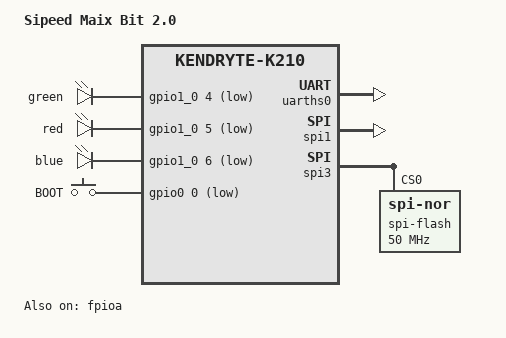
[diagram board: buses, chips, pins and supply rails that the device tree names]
// SPDX-License-Identifier: GPL-2.0+
/*
 * Copyright (C) 2019-20 Sean Anderson <seanga2@gmail.com>
 */

/dts-v1/;

#include "k210.dtsi"

#include <dt-bindings/gpio/gpio.h>
#include <dt-bindings/input/input.h>

/ {
	model = "Sipeed Maix Bit 2.0";
	compatible = "sipeed,maix-bitm", "sipeed,maix-bit",
		     "canaan,kendryte-k210";

	chosen {
		stdout-path = "serial0:115200";
	};

	gpio-leds {
		compatible = "gpio-leds";

		green {
			gpios = <&gpio1_0 4 GPIO_ACTIVE_LOW>;
		};

		red {
			gpios = <&gpio1_0 5 GPIO_ACTIVE_LOW>;
		};

		blue {
			gpios = <&gpio1_0 6 GPIO_ACTIVE_LOW>;
		};
	};

	gpio-keys {
		compatible = "gpio-keys";

		boot {
			label = "BOOT";
			linux,code = <BTN_0>;
			gpios = <&gpio0 0 GPIO_ACTIVE_LOW>;
		};
	};

	sound {
		compatible = "simple-audio-card";
		simple-audio-card,format = "i2s";
		status = "disabled";

		simple-audio-card,cpu {
			sound-dai = <&i2s0 0>;
		};

		simple-audio-card,codec {
			sound-dai = <&mic>;
		};
	};

	mic: mic {
		#sound-dai-cells = <0>;
		compatible = "memsensing,msm61s4030h0";
		status = "disabled";
	};
};

&uarths0 {
	pinctrl-0 = <&fpioa_uarths>;
	pinctrl-names = "default";
	status = "okay";
};

&gpio0 {
	pinctrl-0 = <&fpioa_gpiohs>;
	pinctrl-names = "default";
	status = "okay";
};

&gpio1 {
	pinctrl-0 = <&fpioa_gpio>;
	pinctrl-names = "default";
	status = "okay";
};

&i2s0 {
	#sound-dai-cells = <1>;
	pinctrl-0 = <&fpioa_i2s0>;
	pinctrl-names = "default";
};

&fpioa {
	status = "okay";

	fpioa_uarths: uarths {
		pinmux = <K210_FPIOA(4, K210_PCF_UARTHS_RX)>,
			 <K210_FPIOA(5, K210_PCF_UARTHS_TX)>;
	};

	fpioa_gpio: gpio {
		pinmux = <K210_FPIOA(8, K210_PCF_GPIO0)>,
			 <K210_FPIOA(9, K210_PCF_GPIO1)>,
			 <K210_FPIOA(10, K210_PCF_GPIO2)>,
			 <K210_FPIOA(11, K210_PCF_GPIO3)>,
			 <K210_FPIOA(12, K210_PCF_GPIO4)>,
			 <K210_FPIOA(13, K210_PCF_GPIO5)>,
			 <K210_FPIOA(14, K210_PCF_GPIO6)>,
			 <K210_FPIOA(15, K210_PCF_GPIO7)>;
	};

	fpioa_gpiohs: gpiohs {
		pinmux = <K210_FPIOA(16, K210_PCF_GPIOHS0)>,
			 <K210_FPIOA(17, K210_PCF_GPIOHS1)>,
			 <K210_FPIOA(21, K210_PCF_GPIOHS5)>,
			 <K210_FPIOA(22, K210_PCF_GPIOHS6)>,
			 <K210_FPIOA(23, K210_PCF_GPIOHS7)>,
			 <K210_FPIOA(24, K210_PCF_GPIOHS8)>,
			 <K210_FPIOA(25, K210_PCF_GPIOHS9)>,
			 <K210_FPIOA(30, K210_PCF_GPIOHS14)>,
			 <K210_FPIOA(31, K210_PCF_GPIOHS15)>,
			 <K210_FPIOA(32, K210_PCF_GPIOHS16)>,
			 <K210_FPIOA(33, K210_PCF_GPIOHS17)>,
			 <K210_FPIOA(34, K210_PCF_GPIOHS18)>,
			 <K210_FPIOA(35, K210_PCF_GPIOHS19)>;
	};

	fpioa_i2s0: i2s0 {
		pinmux = <K210_FPIOA(18, K210_PCF_I2S0_SCLK)>,
			 <K210_FPIOA(19, K210_PCF_I2S0_WS)>,
			 <K210_FPIOA(20, K210_PCF_I2S0_IN_D0)>;
	};

	fpioa_dvp: dvp {
		pinmux = <K210_FPIOA(40, K210_PCF_SCCB_SDA)>,
			 <K210_FPIOA(41, K210_PCF_SCCB_SCLK)>,
			 <K210_FPIOA(42, K210_PCF_DVP_RST)>,
			 <K210_FPIOA(43, K210_PCF_DVP_VSYNC)>,
			 <K210_FPIOA(44, K210_PCF_DVP_PWDN)>,
			 <K210_FPIOA(45, K210_PCF_DVP_HSYNC)>,
			 <K210_FPIOA(46, K210_PCF_DVP_XCLK)>,
			 <K210_FPIOA(47, K210_PCF_DVP_PCLK)>;
	};

	fpioa_spi0: spi0 {
		pinmux = <K210_FPIOA(36, K210_PCF_GPIOHS20)>,  /* cs */
			 <K210_FPIOA(37, K210_PCF_GPIOHS21)>,  /* rst */
			 <K210_FPIOA(38, K210_PCF_GPIOHS22)>,  /* dc */
			 <K210_FPIOA(39, K210_PCF_SPI0_SCLK)>; /* wr */
	};

	fpioa_spi1: spi1 {
		pinmux = <K210_FPIOA(26, K210_PCF_SPI1_D1)>,
			 <K210_FPIOA(27, K210_PCF_SPI1_SCLK)>,
			 <K210_FPIOA(28, K210_PCF_SPI1_D0)>,
			 <K210_FPIOA(29, K210_PCF_GPIOHS13)>; /* cs */
	};
};

&dvp0 {
	pinctrl-0 = <&fpioa_dvp>;
	pinctrl-names = "default";
};

&spi0 {
	pinctrl-0 = <&fpioa_spi0>;
	pinctrl-names = "default";
	num-cs = <1>;
	cs-gpios = <&gpio0 20 0>;

	panel@0 {
		compatible = "sitronix,st7789v";
		reg = <0>;
		reset-gpios = <&gpio0 21 GPIO_ACTIVE_LOW>;
		dc-gpios = <&gpio0 22 0>;
		spi-max-frequency = <15000000>;
		status = "disabled";
	};
};

&spi1 {
	pinctrl-0 = <&fpioa_spi1>;
	pinctrl-names = "default";
	num-cs = <1>;
	cs-gpios = <&gpio0 13 0>;
	status = "okay";

	slot@0 {
		compatible = "mmc-spi-slot";
		reg = <0>;
		spi-max-frequency = <25000000>;
		voltage-ranges = <3300 3300>;
		broken-cd;
	};
};

&spi3 {
	status = "okay";

	spi-flash@0 {
		compatible = "jedec,spi-nor";
		reg = <0>;
		spi-max-frequency = <50000000>;
		spi-tx-bus-width = <4>;
		spi-rx-bus-width = <4>;
		m25p,fast-read;
		broken-flash-reset;
	};
};
